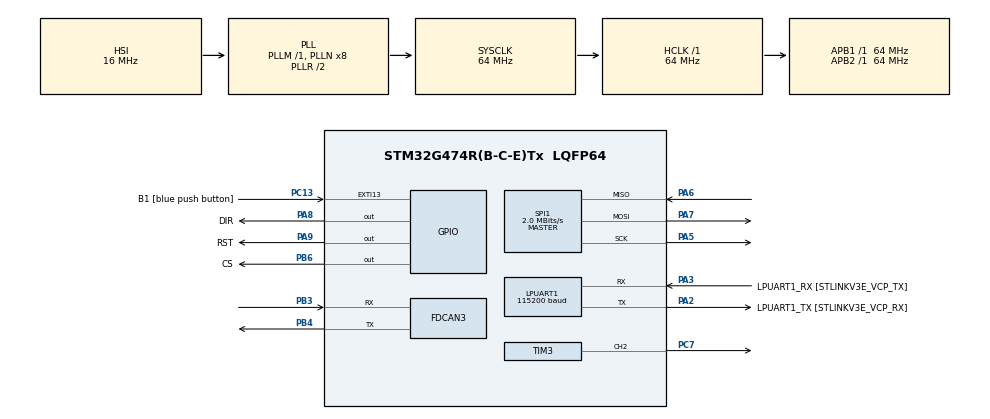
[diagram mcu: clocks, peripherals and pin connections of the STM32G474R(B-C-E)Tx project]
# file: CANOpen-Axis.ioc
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FDCAN3.AutoRetransmission=ENABLE
FDCAN3.CalculateBaudRateNominal=125000
FDCAN3.CalculateTimeBitNominal=8000
FDCAN3.CalculateTimeQuantumNominal=500.0
FDCAN3.DataPrescaler=32
FDCAN3.DataTimeSeg1=13
FDCAN3.DataTimeSeg2=2
FDCAN3.Mode=FDCAN_MODE_EXTERNAL_LOOPBACK
FDCAN3.NominalPrescaler=32
FDCAN3.NominalTimeSeg1=13
FDCAN3.TransmitPause=ENABLE
LPUART1.BaudRate=115200
LPUART1.WordLength=UART_WORDLENGTH_8B
Mcu.Family=STM32G4
Mcu.Name=STM32G474R(B-C-E)Tx
Mcu.Package=LQFP64
NVIC.EXTI15_10_IRQn=true\:0\:0\:false\:false\:true\:true\:true\:true
NVIC.FDCAN3_IT0_IRQn=true\:0\:0\:false\:false\:true\:true\:true\:true
NVIC.FDCAN3_IT1_IRQn=true\:0\:0\:false\:false\:true\:true\:true\:true
NVIC.PriorityGroup=NVIC_PRIORITYGROUP_4
NVIC.TIM6_DAC_IRQn=true\:0\:0\:false\:false\:true\:true\:true\:true
PA13.GPIO_Label=T_SWDIO
PA13.Mode=Serial_Wire
PA13.Signal=SYS_JTMS-SWDIO
PA14.GPIO_Label=T_SWCLK
PA14.Mode=Serial_Wire
PA14.Signal=SYS_JTCK-SWCLK
PA2.GPIO_Label=LPUART1_TX [STLINKV3E_VCP_RX]
PA2.Mode=Asynchronous
PA2.Signal=LPUART1_TX
PA3.GPIO_Label=LPUART1_RX [STLINKV3E_VCP_TX]
PA3.Mode=Asynchronous
PA3.Signal=LPUART1_RX
PA5.Mode=Full_Duplex_Master
PA5.Signal=SPI1_SCK
PA6.Mode=Full_Duplex_Master
PA6.Signal=SPI1_MISO
PA7.Mode=Full_Duplex_Master
PA7.Signal=SPI1_MOSI
PA8.GPIO_Label=DIR
PA8.Signal=GPIO_Output
PA9.GPIO_Label=RST
PA9.Signal=GPIO_Output
PB3.Mode=FDCAN_Activate
PB3.Signal=FDCAN3_RX
PB4.Mode=FDCAN_Activate
PB4.Signal=FDCAN3_TX
PB6.GPIO_Label=CS
PB6.Signal=GPIO_Output
PC13.GPIO_Label=B1 [blue push button]
PC13.Signal=GPXTI13
PC14-OSC32_IN.Mode=LSE-External-Oscillator
PC14-OSC32_IN.Signal=RCC_OSC32_IN
PC15-OSC32_OUT.Mode=LSE-External-Oscillator
PC15-OSC32_OUT.Signal=RCC_OSC32_OUT
PC7.Signal=S_TIM3_CH2
PF0-OSC_IN.Mode=HSE-External-Oscillator
PF0-OSC_IN.Signal=RCC_OSC_IN
PF1-OSC_OUT.Mode=HSE-External-Oscillator
PF1-OSC_OUT.Signal=RCC_OSC_OUT
ProjectManager.HeapSize=0x200
ProjectManager.StackSize=0x400
ProjectManager.TargetToolchain=STM32CubeIDE
RCC.ADC12Freq_Value=64000000
RCC.ADC345Freq_Value=64000000
RCC.AHBFreq_Value=64000000
RCC.APB1Freq_Value=64000000
RCC.APB1TimFreq_Value=64000000
RCC.APB2Freq_Value=64000000
RCC.APB2TimFreq_Value=64000000
RCC.CortexFreq_Value=64000000
RCC.EXTERNAL_CLOCK_VALUE=12288000
RCC.HCLKFreq_Value=64000000
RCC.HSE_VALUE=24000000
RCC.HSI48_VALUE=48000000
RCC.HSI_VALUE=16000000
RCC.RTCClockSelection=RCC_RTCCLKSOURCE_LSE
RCC.SYSCLKFreq_VALUE=64000000
RCC.SYSCLKSource=RCC_SYSCLKSOURCE_PLLCLK
RCC.USBFreq_Value=64000000
RCC.VCOOutputFreq_Value=128000000
SH.S_TIM3_CH2.0=TIM3_CH2,PWM Generation2 CH2
SPI1.BaudRatePrescaler=SPI_BAUDRATEPRESCALER_32
SPI1.CLKPolarity=SPI_POLARITY_HIGH
SPI1.CalculateBaudRate=2.0 MBits/s
SPI1.DataSize=SPI_DATASIZE_8BIT
SPI1.Direction=SPI_DIRECTION_2LINES
SPI1.Mode=SPI_MODE_MASTER
SPI1.VirtualType=VM_MASTER
TIM3.Channel-PWM\ Generation2\ CH2=TIM_CHANNEL_2
TIM3.PeriodNoDither=100
TIM3.Prescaler=64000
TIM3.PulseNoDither_2=50
TIM6.PeriodNoDither=1000
TIM6.Prescaler=64
VP_SYS_VS_DBSignals.Mode=DisableDeadBatterySignals
VP_TIM6_VS_ClockSourceINT.Mode=Enable_Timer
board=NUCLEO-G474RE

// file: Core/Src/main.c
/* USER CODE BEGIN Header */
/**
  ******************************************************************************
  * @file           : main.c
  * @brief          : Main program body
  ******************************************************************************
  * @attention
  *
  * Copyright (c) 2024 STMicroelectronics.
  * All rights reserved.
  *
  * This software is licensed under terms that can be found in the LICENSE file
  * in the root directory of this software component.
  * If no LICENSE file comes with this software, it is provided AS-IS.
  *
  ******************************************************************************
  */
/* USER CODE END Header */
#include "main.h"
#include "CO_app_STM32.h"

FDCAN_HandleTypeDef hfdcan3;

UART_HandleTypeDef hlpuart1;

SPI_HandleTypeDef hspi1;

TIM_HandleTypeDef htim3;
TIM_HandleTypeDef htim6;

void SystemClock_Config(void);
static void MX_GPIO_Init(void);
static void MX_FDCAN3_Init(void);
static void MX_LPUART1_UART_Init(void);
static void MX_TIM6_Init(void);
static void MX_SPI1_Init(void);
static void MX_TIM3_Init(void);
/* USER CODE BEGIN PFP */
void HAL_TIM_PeriodElapsedCallback(TIM_HandleTypeDef *htim)
{
  /* USER CODE BEGIN Callback 0 */

  /* USER CODE END Callback 0 */
  if (htim->Instance == TIM1) {
    HAL_IncTick();
  }
  /* USER CODE BEGIN Callback 1 */
  // Handle CANOpen app interrupts
  if (htim == canopenNodeSTM32->timerHandle) {
      canopen_app_interrupt();
  }
  /* USER CODE END Callback 1 */
}

/* USER CODE END PFP */

int main(void)
{

  /* MCU Configuration--------------------------------------------------------*/

  /* Reset of all peripherals, Initializes the Flash interface and the Systick. */
  HAL_Init();

  /* Configure the system clock */
  SystemClock_Config();

  /* Initialize all configured peripherals */
  MX_GPIO_Init();
  MX_FDCAN3_Init();
  MX_LPUART1_UART_Init();
  MX_TIM6_Init();
  MX_SPI1_Init();
  MX_TIM3_Init();
  /* USER CODE BEGIN 2 */
  CANopenNodeSTM32 canOpenNodeSTM32;
  canOpenNodeSTM32.CANHandle = &hfdcan3;
  canOpenNodeSTM32.HWInitFunction = MX_FDCAN3_Init;
  canOpenNodeSTM32.timerHandle = &htim6;
  canOpenNodeSTM32.desiredNodeID = 29;
  canOpenNodeSTM32.baudrate = 125;
  canopen_app_init(&canOpenNodeSTM32);

  /* Stepper Driver Init Begin */
  HAL_GPIO_WritePin(RST_GPIO_Port, RST_Pin, GPIO_PIN_SET);
  HAL_GPIO_WritePin(CS_GPIO_Port, CS_Pin, GPIO_PIN_RESET);
  uint8_t pData[]={0x21,0x00,0x00,0x00,0xb8};
  HAL_SPI_Transmit(&hspi1, pData, sizeof(pData), 10);
  HAL_GPIO_WritePin(CS_GPIO_Port, CS_Pin, GPIO_PIN_SET);
  HAL_TIM_PWM_Start(&htim3, TIM_CHANNEL_2);
  /* Stepper Driver Init End */

  /* USER CODE END 2 */

  /* Infinite loop */
  /* USER CODE BEGIN WHILE */
  while (1)
  {
	    canopen_app_process();
    /* USER CODE END WHILE */

  }
}

void SystemClock_Config(void)
{
  RCC_OscInitTypeDef RCC_OscInitStruct = {0};
  RCC_ClkInitTypeDef RCC_ClkInitStruct = {0};

  /** Configure the main internal regulator output voltage
  */
  HAL_PWREx_ControlVoltageScaling(PWR_REGULATOR_VOLTAGE_SCALE1);

  /** Initializes the RCC Oscillators according to the specified parameters
  * in the RCC_OscInitTypeDef structure.
  */
  RCC_OscInitStruct.OscillatorType = RCC_OSCILLATORTYPE_HSI;
  RCC_OscInitStruct.HSIState = RCC_HSI_ON;
  RCC_OscInitStruct.HSICalibrationValue = RCC_HSICALIBRATION_DEFAULT;
  RCC_OscInitStruct.PLL.PLLState = RCC_PLL_ON;
  RCC_OscInitStruct.PLL.PLLSource = RCC_PLLSOURCE_HSI;
  RCC_OscInitStruct.PLL.PLLM = RCC_PLLM_DIV1;
  RCC_OscInitStruct.PLL.PLLN = 8;
  RCC_OscInitStruct.PLL.PLLP = RCC_PLLP_DIV2;
  RCC_OscInitStruct.PLL.PLLQ = RCC_PLLQ_DIV2;
  RCC_OscInitStruct.PLL.PLLR = RCC_PLLR_DIV2;
  if (HAL_RCC_OscConfig(&RCC_OscInitStruct) != HAL_OK)
  {
    Error_Handler();
  }

  /** Initializes the CPU, AHB and APB buses clocks
  */
  RCC_ClkInitStruct.ClockType = RCC_CLOCKTYPE_HCLK|RCC_CLOCKTYPE_SYSCLK
                              |RCC_CLOCKTYPE_PCLK1|RCC_CLOCKTYPE_PCLK2;
  RCC_ClkInitStruct.SYSCLKSource = RCC_SYSCLKSOURCE_PLLCLK;
  RCC_ClkInitStruct.AHBCLKDivider = RCC_SYSCLK_DIV1;
  RCC_ClkInitStruct.APB1CLKDivider = RCC_HCLK_DIV1;
  RCC_ClkInitStruct.APB2CLKDivider = RCC_HCLK_DIV1;

  if (HAL_RCC_ClockConfig(&RCC_ClkInitStruct, FLASH_LATENCY_2) != HAL_OK)
  {
    Error_Handler();
  }
}

static void MX_FDCAN3_Init(void)
{

  hfdcan3.Instance = FDCAN3;
  hfdcan3.Init.ClockDivider = FDCAN_CLOCK_DIV1;
  hfdcan3.Init.FrameFormat = FDCAN_FRAME_CLASSIC;
  hfdcan3.Init.Mode = FDCAN_MODE_EXTERNAL_LOOPBACK;
  hfdcan3.Init.AutoRetransmission = ENABLE;
  hfdcan3.Init.TransmitPause = ENABLE;
  hfdcan3.Init.ProtocolException = DISABLE;
  hfdcan3.Init.NominalPrescaler = 32;
  hfdcan3.Init.NominalSyncJumpWidth = 1;
  hfdcan3.Init.NominalTimeSeg1 = 13;
  hfdcan3.Init.NominalTimeSeg2 = 2;
  hfdcan3.Init.DataPrescaler = 32;
  hfdcan3.Init.DataSyncJumpWidth = 1;
  hfdcan3.Init.DataTimeSeg1 = 13;
  hfdcan3.Init.DataTimeSeg2 = 2;
  hfdcan3.Init.StdFiltersNbr = 0;
  hfdcan3.Init.ExtFiltersNbr = 0;
  hfdcan3.Init.TxFifoQueueMode = FDCAN_TX_FIFO_OPERATION;
  if (HAL_FDCAN_Init(&hfdcan3) != HAL_OK)
  {
    Error_Handler();
  }

}

static void MX_LPUART1_UART_Init(void)
{

  hlpuart1.Instance = LPUART1;
  hlpuart1.Init.BaudRate = 115200;
  hlpuart1.Init.WordLength = UART_WORDLENGTH_8B;
  hlpuart1.Init.StopBits = UART_STOPBITS_1;
  hlpuart1.Init.Parity = UART_PARITY_NONE;
  hlpuart1.Init.Mode = UART_MODE_TX_RX;
  hlpuart1.Init.HwFlowCtl = UART_HWCONTROL_NONE;
  hlpuart1.Init.OneBitSampling = UART_ONE_BIT_SAMPLE_DISABLE;
  hlpuart1.Init.ClockPrescaler = UART_PRESCALER_DIV1;
  hlpuart1.AdvancedInit.AdvFeatureInit = UART_ADVFEATURE_NO_INIT;
  if (HAL_UART_Init(&hlpuart1) != HAL_OK)
  {
    Error_Handler();
  }
  if (HAL_UARTEx_SetTxFifoThreshold(&hlpuart1, UART_TXFIFO_THRESHOLD_1_8) != HAL_OK)
  {
    Error_Handler();
  }
  if (HAL_UARTEx_SetRxFifoThreshold(&hlpuart1, UART_RXFIFO_THRESHOLD_1_8) != HAL_OK)
  {
    Error_Handler();
  }
  if (HAL_UARTEx_DisableFifoMode(&hlpuart1) != HAL_OK)
  {
    Error_Handler();
  }

}

static void MX_SPI1_Init(void)
{

  /* SPI1 parameter configuration*/
  hspi1.Instance = SPI1;
  hspi1.Init.Mode = SPI_MODE_MASTER;
  hspi1.Init.Direction = SPI_DIRECTION_2LINES;
  hspi1.Init.DataSize = SPI_DATASIZE_8BIT;
  hspi1.Init.CLKPolarity = SPI_POLARITY_HIGH;
  hspi1.Init.CLKPhase = SPI_PHASE_1EDGE;
  hspi1.Init.NSS = SPI_NSS_SOFT;
  hspi1.Init.BaudRatePrescaler = SPI_BAUDRATEPRESCALER_32;
  hspi1.Init.FirstBit = SPI_FIRSTBIT_MSB;
  hspi1.Init.TIMode = SPI_TIMODE_DISABLE;
  hspi1.Init.CRCCalculation = SPI_CRCCALCULATION_DISABLE;
  hspi1.Init.CRCPolynomial = 7;
  hspi1.Init.CRCLength = SPI_CRC_LENGTH_DATASIZE;
  hspi1.Init.NSSPMode = SPI_NSS_PULSE_ENABLE;
  if (HAL_SPI_Init(&hspi1) != HAL_OK)
  {
    Error_Handler();
  }

}

static void MX_TIM3_Init(void)
{

  TIM_MasterConfigTypeDef sMasterConfig = {0};
  TIM_OC_InitTypeDef sConfigOC = {0};

  htim3.Instance = TIM3;
  htim3.Init.Prescaler = 64;
  htim3.Init.CounterMode = TIM_COUNTERMODE_UP;
  htim3.Init.Period = 1000;
  htim3.Init.ClockDivision = TIM_CLOCKDIVISION_DIV1;
  htim3.Init.AutoReloadPreload = TIM_AUTORELOAD_PRELOAD_DISABLE;
  if (HAL_TIM_PWM_Init(&htim3) != HAL_OK)
  {
    Error_Handler();
  }
  sMasterConfig.MasterOutputTrigger = TIM_TRGO_RESET;
  sMasterConfig.MasterSlaveMode = TIM_MASTERSLAVEMODE_DISABLE;
  if (HAL_TIMEx_MasterConfigSynchronization(&htim3, &sMasterConfig) != HAL_OK)
  {
    Error_Handler();
  }
  sConfigOC.OCMode = TIM_OCMODE_PWM1;
  sConfigOC.Pulse = 500;
  sConfigOC.OCPolarity = TIM_OCPOLARITY_HIGH;
  sConfigOC.OCFastMode = TIM_OCFAST_DISABLE;
  if (HAL_TIM_PWM_ConfigChannel(&htim3, &sConfigOC, TIM_CHANNEL_2) != HAL_OK)
  {
    Error_Handler();
  }
  HAL_TIM_MspPostInit(&htim3);

}

static void MX_TIM6_Init(void)
{

  TIM_MasterConfigTypeDef sMasterConfig = {0};

  htim6.Instance = TIM6;
  htim6.Init.Prescaler = 64;
  htim6.Init.CounterMode = TIM_COUNTERMODE_UP;
  htim6.Init.Period = 1000;
  htim6.Init.AutoReloadPreload = TIM_AUTORELOAD_PRELOAD_DISABLE;
  if (HAL_TIM_Base_Init(&htim6) != HAL_OK)
  {
    Error_Handler();
  }
  sMasterConfig.MasterOutputTrigger = TIM_TRGO_RESET;
  sMasterConfig.MasterSlaveMode = TIM_MASTERSLAVEMODE_DISABLE;
  if (HAL_TIMEx_MasterConfigSynchronization(&htim6, &sMasterConfig) != HAL_OK)
  {
    Error_Handler();
  }

}

static void MX_GPIO_Init(void)
{
  GPIO_InitTypeDef GPIO_InitStruct = {0};

  /* GPIO Ports Clock Enable */
  __HAL_RCC_GPIOC_CLK_ENABLE();
  __HAL_RCC_GPIOF_CLK_ENABLE();
  __HAL_RCC_GPIOA_CLK_ENABLE();
  __HAL_RCC_GPIOB_CLK_ENABLE();

  /*Configure GPIO pin Output Level */
  HAL_GPIO_WritePin(GPIOA, DIR_Pin|RST_Pin, GPIO_PIN_RESET);

  /*Configure GPIO pin Output Level */
  HAL_GPIO_WritePin(CS_GPIO_Port, CS_Pin, GPIO_PIN_RESET);

  /*Configure GPIO pin : B1_Pin */
  GPIO_InitStruct.Pin = B1_Pin;
  GPIO_InitStruct.Mode = GPIO_MODE_IT_RISING;
  GPIO_InitStruct.Pull = GPIO_NOPULL;
  HAL_GPIO_Init(B1_GPIO_Port, &GPIO_InitStruct);

  /*Configure GPIO pins : DIR_Pin RST_Pin */
  GPIO_InitStruct.Pin = DIR_Pin|RST_Pin;
  GPIO_InitStruct.Mode = GPIO_MODE_OUTPUT_PP;
  GPIO_InitStruct.Pull = GPIO_NOPULL;
  GPIO_InitStruct.Speed = GPIO_SPEED_FREQ_LOW;
  HAL_GPIO_Init(GPIOA, &GPIO_InitStruct);

  /*Configure GPIO pin : CS_Pin */
  GPIO_InitStruct.Pin = CS_Pin;
  GPIO_InitStruct.Mode = GPIO_MODE_OUTPUT_PP;
  GPIO_InitStruct.Pull = GPIO_NOPULL;
  GPIO_InitStruct.Speed = GPIO_SPEED_FREQ_LOW;
  HAL_GPIO_Init(CS_GPIO_Port, &GPIO_InitStruct);

  /* EXTI interrupt init*/
  HAL_NVIC_SetPriority(EXTI15_10_IRQn, 0, 0);
  HAL_NVIC_EnableIRQ(EXTI15_10_IRQn);

}

void Error_Handler(void)
{
  __disable_irq();
  while (1)
  {
  }
}
